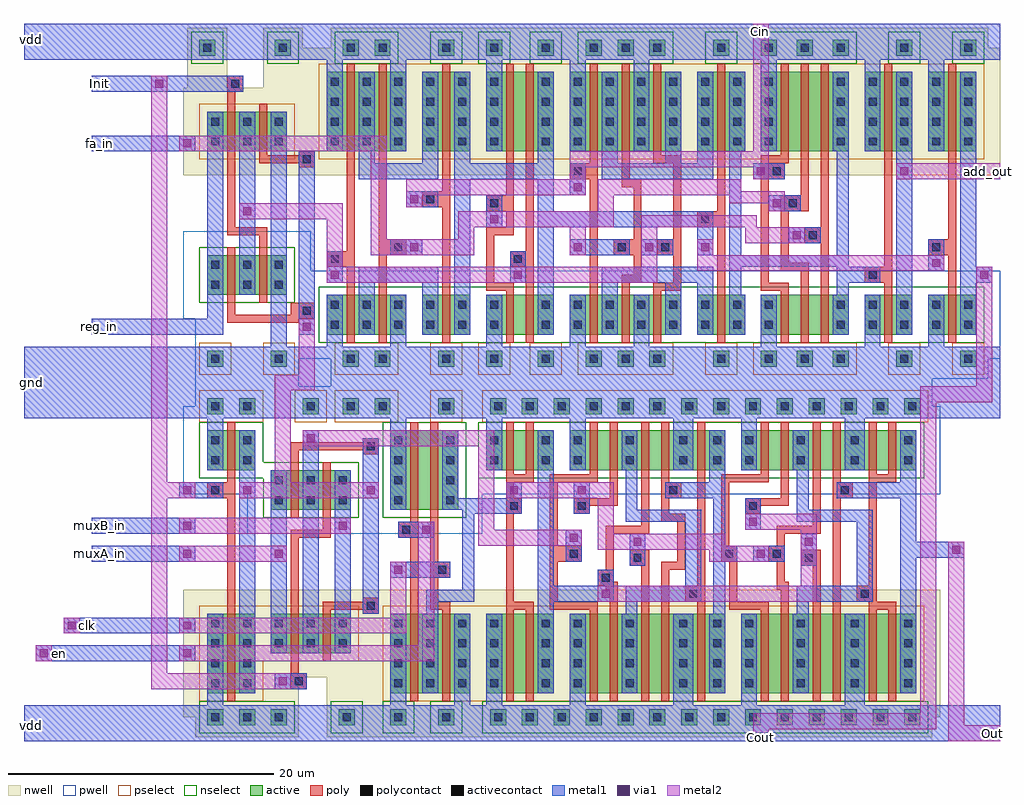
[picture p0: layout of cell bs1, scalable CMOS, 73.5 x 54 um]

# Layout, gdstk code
import gdstk
lib = gdstk.Library(unit=1e-6, precision=1e-09)
def R(c, l, rs):  # rectangles x0, y0, x1, y1
    for r in rs: c.add(gdstk.rectangle(r[:2], r[2:], *l))
def A(c, l, x, y, w, h, nx, ny, dx, dy):  # array of equal rectangles
    R(c, l, [(x+i*dx, y+j*dy, x+i*dx+w, y+j*dy+h) for i in range(nx) for j in range(ny)])
pwell = (41, 0)
nwell = (42, 0)
active = (43, 0)
pselect = (44, 0)
nselect = (45, 0)
poly = (46, 0)
polycontact = (47, 0)
activecontact = (48, 0)
metal1 = (49, 0)
via1 = (50, 0)
metal2 = (51, 0)

c_______fa_magic_fa = lib.new_cell('______fa_magic_fa')
R(c_______fa_magic_fa, pwell, [(2.1,-0.6,51.6,0.9), (0,0.9,52.5,7.5)])
R(c_______fa_magic_fa, nwell, [(0,14.7,52.5,24.3), (2.1,24.3,51.6,25.8)])
A(c_______fa_magic_fa, active, 21.3, 0.3, 1.2, 1.2, 3, 2, 2.4, 23.4)
A(c_______fa_magic_fa, active, 34.5, 0.3, 1.2, 1.2, 3, 2, 2.7, 23.4)
R(c_______fa_magic_fa, active, [(3,0.3,4.2,1.5), (5.4,0.3,6.6,1.5), (10.2,0.3,11.4,1.5), (13.8,0.3,15,1.5), (17.7,0.3,18.9,1.5), (30.9,0.3,32.1,1.5), (44.7,0.3,45.9,1.5), (49.5,0.3,50.7,1.5), (1.8,2.7,7.8,5.7), (9,2.7,12.6,5.7), (13.8,2.7,18.9,5.7), (20.1,2.7,28.5,5.7), (29.7,2.7,33.3,5.7), (34.5,2.7,41.1,5.7), (42.3,2.7,45.9,5.7), (47.1,2.7,50.7,5.7), (1.8,16.5,7.8,22.5), (9,16.5,12.6,22.5), (13.8,16.5,18.9,22.5), (20.1,16.5,28.5,22.5), (29.7,16.5,33.3,22.5), (34.5,16.5,41.1,22.5), (42.3,16.5,45.9,22.5), (47.1,16.5,50.7,22.5), (3,23.7,4.2,24.9), (5.4,23.7,6.6,24.9), (10.2,23.7,11.4,24.9), (13.8,23.7,15,24.9), (17.7,23.7,18.9,24.9), (30.9,23.7,32.1,24.9), (44.7,23.7,45.9,24.9), (49.5,23.7,50.7,24.9)])
R(c_______fa_magic_fa, pselect, [(2.4,-0.3,7.2,2.1), (9.6,-0.3,12,2.1), (13.2,-0.3,15.6,2.1), (17.1,-0.3,19.5,2.1), (20.7,-0.3,27.9,2.1), (30.3,-0.3,32.7,2.1), (33.9,-0.3,41.7,2.1), (44.1,-0.3,46.5,2.1), (48.9,-0.3,51.3,2.1), (1.2,15.9,51.3,23.1)])
R(c_______fa_magic_fa, nselect, [(1.2,2.1,51.3,6.3), (2.4,23.1,7.2,25.5), (9.6,23.1,12,25.5), (13.2,23.1,15.6,25.5), (17.1,23.1,19.5,25.5), (20.7,23.1,27.9,25.5), (30.3,23.1,32.7,25.5), (33.9,23.1,41.7,25.5), (44.1,23.1,46.5,25.5), (48.9,23.1,51.3,25.5)])
R(c_______fa_magic_fa, poly, [(3.3,2.1,3.9,7.8), (5.7,2.1,6.3,8.7), (10.5,2.1,11.1,12.3), (15.3,2.1,15.9,6), (16.8,2.1,17.4,7.8), (21.6,2.1,22.2,14.4), (24,2.1,24.6,6.6), (26.4,2.1,27,6), (31.2,2.1,31.8,10.8), (36,2.1,36.6,6), (37.5,2.1,38.1,7.5), (39,2.1,39.6,9.6), (43.8,2.1,44.4,6.6), (48.6,2.1,49.2,8.7), (13.8,6,15.9,6.6), (26.4,6,28.5,6.6), (34.5,6,36.6,6.6), (13.8,6.6,14.4,10.2), (24,6.6,25.5,7.2), (27.9,6.6,28.5,8.7), (34.5,6.6,35.1,14.4), (42.3,6.6,44.4,7.8), (24.9,7.2,25.5,8.7), (36,7.5,38.1,8.1), (1.8,7.8,3.9,9), (15.6,7.8,17.4,9), (43.8,7.8,44.4,23.1), (36,8.1,36.6,12), (5.7,8.7,7.8,9.9), (23.4,8.7,25.5,9.9), (26.7,8.7,28.5,9.9), (47.1,8.7,49.2,9.9), (3.3,9,3.9,23.1), (16.8,9,17.4,23.1), (37.8,9.6,39.6,10.8), (5.7,9.9,6.3,23.1), (24.9,9.9,25.5,13.8), (27.9,9.9,28.5,15.6), (48.6,9.9,49.2,23.1), (13.8,10.2,15.9,10.8), (15.3,10.8,15.9,12), (29.7,10.8,31.8,12), (39,10.8,39.6,23.1), (13.8,12,15.9,13.2), (31.2,12,31.8,23.1), (36,12,38.1,13.2), (9,12.3,11.1,13.5), (15.3,13.2,15.9,23.1), (37.5,13.2,38.1,23.1), (10.5,13.5,11.1,23.1), (24,13.8,25.5,14.4), (20.1,14.4,22.2,15.6), (24,14.4,24.6,23.1), (34.5,14.4,36.3,15.6), (21.6,15.6,22.2,23.1), (26.4,15.6,28.5,16.2), (34.5,15.6,36.6,16.2), (26.4,16.2,27,23.1), (36,16.2,36.6,23.1)])
R(c_______fa_magic_fa, polycontact, [(42.6,6.9,43.2,7.5), (2.1,8.1,2.7,8.7), (15.9,8.1,16.5,8.7), (6.9,9,7.5,9.6), (23.7,9,24.3,9.6), (27,9,27.6,9.6), (47.4,9,48,9.6), (38.1,9.9,38.7,10.5), (30,11.1,30.6,11.7), (14.1,12.3,14.7,12.9), (36.6,12.3,37.2,12.9), (9.3,12.6,9.9,13.2), (20.4,14.7,21,15.3), (35.4,14.7,36,15.3)])
A(c_______fa_magic_fa, activecontact, 21.6, 0.6, 0.6, 0.6, 3, 2, 2.4, 23.4)
A(c_______fa_magic_fa, activecontact, 34.8, 0.6, 0.6, 0.6, 3, 2, 2.7, 23.4)
A(c_______fa_magic_fa, activecontact, 2.1, 3.15, 0.6, 0.6, 6, 2, 2.4, 1.5)
A(c_______fa_magic_fa, activecontact, 18, 3.15, 0.6, 0.6, 8, 2, 2.4, 1.5)
A(c_______fa_magic_fa, activecontact, 40.2, 3.15, 0.6, 0.6, 5, 2, 2.4, 1.5)
A(c_______fa_magic_fa, activecontact, 2.1, 16.95, 0.6, 0.6, 6, 4, 2.4, 1.5)
A(c_______fa_magic_fa, activecontact, 18, 16.95, 0.6, 0.6, 8, 4, 2.4, 1.5)
A(c_______fa_magic_fa, activecontact, 40.2, 16.95, 0.6, 0.6, 5, 4, 2.4, 1.5)
R(c_______fa_magic_fa, activecontact, [(3.3,0.6,3.9,1.2), (5.7,0.6,6.3,1.2), (10.5,0.6,11.1,1.2), (14.1,0.6,14.7,1.2), (18,0.6,18.6,1.2), (31.2,0.6,31.8,1.2), (45,0.6,45.6,1.2), (49.8,0.6,50.4,1.2), (3.3,24,3.9,24.6), (5.7,24,6.3,24.6), (10.5,24,11.1,24.6), (14.1,24,14.7,24.6), (18,24,18.6,24.6), (31.2,24,31.8,24.6), (45,24,45.6,24.6), (49.8,24,50.4,24.6)])
A(c_______fa_magic_fa, metal1, 17.7, 15.6, 1.2, 6.9, 3, 1, 4.8, 0)
R(c_______fa_magic_fa, metal1, [(0,0,52.5,1.8), (1.8,1.8,3,5.7), (6.6,1.8,7.8,5.7), (13.8,1.8,15,5.7), (20.1,1.8,21.3,5.7), (24.9,1.8,26.1,5.7), (34.5,1.8,35.7,5.7), (42.3,1.8,43.5,5.7), (47.1,1.8,48.3,5.7), (4.2,2.7,5.4,6.6), (9,2.7,10.2,6.6), (11.4,2.7,12.6,14.4), (17.7,2.7,18.9,10.8), (22.5,2.7,23.7,6.6), (27.3,2.7,28.5,6.6), (29.7,2.7,30.9,6.6), (32.1,2.7,33.3,5.7), (39.9,2.7,41.1,5.7), (44.7,2.7,45.9,22.5), (49.5,2.7,50.7,6.6), (32.1,5.7,33,7.8), (40.2,5.7,41.1,6.6), (1.8,6.6,3,9), (4.2,6.6,10.2,7.8), (15.6,6.6,16.8,9), (22.5,6.6,30.9,7.8), (40.2,6.6,43.5,7.8), (49.5,6.6,51.9,7.8), (47.1,7.5,48.3,9.9), (32.1,7.8,41.1,8.7), (49.5,7.8,50.7,22.5), (6.6,8.7,9,9.9), (20.1,8.7,24.6,9.9), (25.5,8.7,27.9,9.9), (29.7,8.7,30.9,10.8), (32.1,8.7,33,16.5), (40.2,8.7,41.1,16.5), (36.6,9.6,39,10.8), (13.8,10.8,15,13.2), (17.7,10.8,30.9,12), (17.7,12,18.9,14.4), (35.1,12,37.5,13.2), (7.8,12.3,10.2,13.5), (20.1,13.2,21.3,15.6), (4.2,14.4,10.2,15.6), (11.4,14.4,18.9,15.6), (22.5,14.4,30.9,15.6), (33.9,14.4,36.3,15.6), (4.2,15.6,5.4,22.5), (9,15.6,10.2,22.5), (11.4,15.6,12.6,22.5), (29.7,15.6,30.9,22.5), (1.8,16.5,3,23.4), (6.6,16.5,7.8,23.4), (13.8,16.5,15,23.4), (20.1,16.5,21.3,23.4), (24.9,16.5,26.1,23.4), (32.1,16.5,33.3,22.5), (34.5,16.5,35.7,23.4), (39.9,16.5,41.1,22.5), (42.3,16.5,43.5,23.4), (47.1,16.5,48.3,23.4), (0,23.4,52.5,25.2)])
R(c_______fa_magic_fa, via1, [(2.1,6.9,2.7,7.5), (15.9,6.9,16.5,7.5), (51,6.9,51.6,7.5), (47.4,7.8,48,8.4), (8.1,9,8.7,9.6), (20.4,9,21,9.6), (25.8,9,26.4,9.6), (30,9,30.6,9.6), (36.9,9.9,37.5,10.5), (14.1,11.1,14.7,11.7), (35.4,12.3,36,12.9), (8.1,12.6,8.7,13.2), (20.4,13.5,21,14.1), (34.2,14.7,34.8,15.3), (45,14.7,45.6,15.3)])
R(c_______fa_magic_fa, metal2, [(50.7,-1.2,51.9,7.8), (1.8,6.6,26.7,7.8), (29.7,7.5,48.3,8.7), (25.5,7.8,26.7,10.8), (7.8,8.7,12.9,9.9), (20.1,8.7,21.3,10.8), (29.7,8.7,30.9,9.9), (33.3,9.6,37.8,10.8), (11.7,9.9,12.9,10.8), (11.7,10.8,23.4,12), (25.5,10.8,34.2,11.7), (22.2,12,23.4,13.2), (35.1,12,36.3,12.6), (7.8,12.3,9,13.2), (32.1,12.6,36.3,13.2), (7.8,13.2,21.3,14.4), (22.2,13.2,36.3,13.5), (22.2,13.5,33,14.4), (20.1,14.4,21.3,15.3), (33.9,14.4,35.1,15.3), (44.7,14.4,52.5,15.6), (20.1,15.3,35.1,16.5), (33.9,16.5,35.1,26.1)])
c_______fa_magic_fa.add(gdstk.Label('vdd', (0.9,24.3), layer=49, texttype=0))
c_______fa_magic_fa.add(gdstk.Label('gnd', (0.9,0.9), layer=49, texttype=0))
c_______fa_magic_fa.add(gdstk.Label('a', (3.6,11.7), layer=46, texttype=0))
c_______fa_magic_fa.add(gdstk.Label('b', (6,11.7), layer=46, texttype=0))
c_______fa_magic_fa.add(gdstk.Label('c_in', (33.6,15.9), layer=51, texttype=0))
c_______fa_magic_fa.add(gdstk.Label('sum', (47.7,15), layer=51, texttype=0))
c_______fa_magic_fa.add(gdstk.Label('c_out', (51.3,6), layer=51, texttype=0))

c_______mux21_magic_mux21 = lib.new_cell('______mux21_magic_mux21')
R(c_______mux21_magic_mux21, pwell, [(-7.8,-11.7,0,-7.2), (-8.7,-7.2,0.9,-0.6)])
R(c_______mux21_magic_mux21, nwell, [(-8.7,3.6,0.9,10.2), (-8.4,10.2,-5.4,14.7), (-2.7,10.2,0.3,14.7)])
R(c_______mux21_magic_mux21, active, [(-6.9,-10.8,-5.7,-9.6), (-2.1,-10.8,-0.9,-9.6), (-6.9,-5.4,-0.9,-2.4), (-6.9,5.4,-0.9,8.4), (-7.5,12.6,-6.3,13.8), (-1.8,12.6,-0.6,13.8)])
R(c_______mux21_magic_mux21, pselect, [(-7.5,-11.4,-5.1,-9), (-2.7,-11.4,-0.3,-9), (-7.5,4.8,-0.3,9)])
R(c_______mux21_magic_mux21, nselect, [(-7.5,-6,-0.3,-1.8), (-8.1,12,-5.7,14.4), (-2.4,12,0,14.4)])
R(c_______mux21_magic_mux21, poly, [(-5.4,-7.5,0,-7.2), (-5.4,-7.2,1.2,-6.9), (-5.4,-6.9,-4.8,-1.8), (-0.6,-6.9,1.2,-6), (-3,-6,-2.4,-0.9), (-5.4,-0.9,-2.4,-0.3), (-5.4,-0.3,-4.8,9.9), (0,4.2,1.2,4.5), (-3,4.5,1.2,5.1), (-3,5.1,-2.4,9), (0,5.1,1.2,5.4), (-5.4,9.9,-4.2,11.1)])
R(c_______mux21_magic_mux21, polycontact, [(0.3,-6.9,0.9,-6.3), (0.3,4.5,0.9,5.1), (-5.1,10.2,-4.5,10.8)])
A(c_______mux21_magic_mux21, activecontact, -6.6, -4.95, 0.6, 0.6, 3, 2, 2.4, 1.5)
A(c_______mux21_magic_mux21, activecontact, -6.6, 5.85, 0.6, 0.6, 3, 2, 2.4, 1.5)
R(c_______mux21_magic_mux21, activecontact, [(-6.6,-10.5,-6,-9.9), (-1.8,-10.5,-1.2,-9.9), (-7.2,12.9,-6.6,13.5), (-1.5,12.9,-0.9,13.5)])
R(c_______mux21_magic_mux21, metal1, [(-9,-11.1,1.2,-9.3), (-9,-8.4,-5.7,-7.2), (-6.9,-7.2,-5.7,8.4), (0,-7.2,1.2,5.4), (-4.5,-5.4,-3.3,8.4), (-2.1,-5.4,-0.9,8.4), (-6.6,9.9,-4.2,11.1), (-9,12.3,1.2,14.1)])
c_______mux21_magic_mux21.add(gdstk.Label('Vdd', (-0.9,12.9), layer=49, texttype=0))
c_______mux21_magic_mux21.add(gdstk.Label('In_0', (-8.4,-7.8), layer=49, texttype=0))
c_______mux21_magic_mux21.add(gdstk.Label('in_1', (-1.5,3.15), layer=49, texttype=0))
c_______mux21_magic_mux21.add(gdstk.Label('Out', (-3.9,2.7), layer=49, texttype=0))
c_______mux21_magic_mux21.add(gdstk.Label('Sel_bar', (0.6,4.8), layer=49, texttype=0))
c_______mux21_magic_mux21.add(gdstk.Label('sel', (-6,10.5), layer=49, texttype=0))

c_______inv_magic_inverter = lib.new_cell('______inv_magic_inverter')
R(c_______inv_magic_inverter, pwell, [(-0.3,-0.9,5.1,0.6), (-1.2,0.6,6,7.2)])
R(c_______inv_magic_inverter, nwell, [(-1.2,14.4,6,24), (-0.3,24,5.1,25.5)])
R(c_______inv_magic_inverter, active, [(0.6,0,1.8,1.2), (3,0,4.2,1.2), (0.6,2.4,4.2,5.4), (0.6,16.2,4.2,22.2), (0.6,23.4,1.8,24.6), (3,23.4,4.2,24.6)])
R(c_______inv_magic_inverter, pselect, [(0,-0.6,4.8,1.8), (0,15.6,4.8,22.8)])
R(c_______inv_magic_inverter, nselect, [(0,1.8,4.8,6), (0,22.8,4.8,25.2)])
R(c_______inv_magic_inverter, poly, [(2.1,1.8,2.7,6.3), (0.6,6.3,2.7,7.5), (2.1,7.5,2.7,22.8)])
R(c_______inv_magic_inverter, polycontact, [(0.9,6.6,1.5,7.2)])
A(c_______inv_magic_inverter, activecontact, 0.9, 16.65, 0.6, 0.6, 1, 4, 0, 1.5)
A(c_______inv_magic_inverter, activecontact, 3.3, 16.65, 0.6, 0.6, 1, 4, 0, 1.5)
R(c_______inv_magic_inverter, activecontact, [(0.9,0.3,1.5,0.9), (3.3,0.3,3.9,0.9), (0.9,2.85,1.5,3.45), (3.3,2.85,3.9,3.45), (0.9,4.35,1.5,4.95), (3.3,4.35,3.9,4.95), (0.9,23.7,1.5,24.3), (3.3,23.7,3.9,24.3)])
R(c_______inv_magic_inverter, metal1, [(-1.2,-0.3,6,1.5), (0.6,1.5,1.8,5.4), (3,2.4,4.2,22.2), (-1.2,6.3,1.8,7.5), (0.6,16.2,1.8,23.1), (-1.2,23.1,6,24.9)])
c_______inv_magic_inverter.add(gdstk.Label('Y', (3.6,7.8), layer=49, texttype=0))
c_______inv_magic_inverter.add(gdstk.Label('A', (-0.6,6.6), layer=49, texttype=0))
c_______inv_magic_inverter.add(gdstk.Label('vdd', (0,24), layer=49, texttype=0))
c_______inv_magic_inverter.add(gdstk.Label('gnd', (0,0.6), layer=49, texttype=0))

c_______bc1a_magic_bc1a = lib.new_cell('______bc1a_magic_bc1a')
R(c_______bc1a_magic_bc1a, pwell, [(7.5,11.1,17.1,17.7), (9.9,17.7,16.8,20.7), (9,20.7,16.8,22.2), (3.6,22.2,11.4,22.8)])
R(c_______bc1a_magic_bc1a, nwell, [(8.4,-4.2,11.4,0.3), (13.5,-4.2,16.5,0.3), (7.5,0.3,17.1,6.9)])
R(c_______bc1a_magic_bc1a, active, [(9.3,-3.3,10.5,-2.1), (14.4,-3.3,15.6,-2.1), (9.3,2.1,15.3,5.1), (9.3,12.9,15.3,15.9), (11.7,20.1,12.9,21.3), (14.7,20.1,15.9,21.3)])
R(c_______bc1a_magic_bc1a, pselect, [(8.7,1.5,15.9,5.7), (11.1,19.5,13.5,21.9), (14.1,19.5,16.5,21.9)])
R(c_______bc1a_magic_bc1a, nselect, [(8.7,-3.9,11.1,-1.5), (13.8,-3.9,16.2,-1.5), (8.7,12.3,15.9,16.5)])
R(c_______bc1a_magic_bc1a, poly, [(10.8,-0.6,12,0.6), (10.8,0.6,11.4,10.8), (13.2,1.5,13.8,5.4), (16.2,5.1,17.4,5.4), (13.2,5.4,17.4,6), (16.2,6,17.4,6.3), (10.8,10.8,13.8,11.4), (13.2,11.4,13.8,16.5), (10.8,12.3,11.4,17.4), (16.2,17.1,17.4,17.4), (10.8,17.4,17.4,18), (16.2,18,17.4,18.3)])
R(c_______bc1a_magic_bc1a, polycontact, [(11.1,-0.3,11.7,0.3), (16.5,5.4,17.1,6), (16.5,17.4,17.1,18)])
A(c_______bc1a_magic_bc1a, activecontact, 9.6, 2.55, 0.6, 0.6, 3, 2, 2.4, 1.5)
A(c_______bc1a_magic_bc1a, activecontact, 9.6, 13.35, 0.6, 0.6, 3, 2, 2.4, 1.5)
R(c_______bc1a_magic_bc1a, activecontact, [(9.6,-3,10.2,-2.4), (14.7,-3,15.3,-2.4), (12,20.4,12.6,21), (15,20.4,15.6,21)])
R(c_______bc1a_magic_bc1a, metal1, [(-0.3,-3.6,2.7,-1.8), (9,-3.6,19.2,-2.1), (9,-2.1,17.4,-1.8), (9.6,-0.6,12,0.6), (9.3,2.1,10.5,15.9), (11.7,2.1,12.9,18.9), (14.1,2.1,15.3,15.9), (16.2,5.1,17.4,18.3), (6.9,7.8,8.1,9), (-0.3,9,3.6,10.2), (-0.3,11.1,3.6,12.3), (2.4,13.8,3.6,15), (6.9,13.8,8.1,15), (-0.3,19.8,2.7,21.3), (9,19.8,17.4,21.3), (-0.3,21.3,17.4,21.6), (-0.3,21.6,19.2,23.4), (-0.3,23.4,9,23.7), (9.9,23.4,19.2,24), (-0.3,23.7,8.4,24.9), (12.6,24,18.3,25.2), (-0.3,24.9,9,25.2), (-0.3,26.1,3.6,27.3), (11.4,26.1,12.6,27.3), (11.4,27.9,12.6,29.1), (6.9,35.4,8.1,36.6), (-0.3,44.4,6,45.6), (-0.3,46.8,9,48.6), (13.8,46.8,18.3,48.6)])
R(c_______bc1a_magic_bc1a, via1, [(9.9,-0.3,10.5,0.3), (2.7,9.3,3.3,9.9), (9.6,9.3,10.2,9.9), (2.7,11.4,3.3,12), (14.4,11.4,15,12), (2.7,14.1,3.3,14.7), (7.2,14.1,7.8,14.7), (16.5,14.1,17.1,14.7), (12,18,12.6,18.6), (11.7,26.4,12.3,27), (0.6,44.7,1.2,45.3)])
R(c_______bc1a_magic_bc1a, metal2, [(0.3,-0.6,10.8,0.6), (0.3,0.6,1.5,13.8), (9,1.5,18.6,2.7), (9,3.6,18.6,4.8), (2.4,9,10.5,10.2), (2.4,11.1,15.3,12.3), (0.3,13.8,3.6,15), (6.9,13.8,17.4,15), (0.3,15,1.5,45.6), (9.6,15,10.8,21.9), (11.7,17.7,17.4,18.9), (9.6,21.9,12.6,23.1), (11.4,23.1,12.6,27.3)])
c_______bc1a_magic_bc1a.add(gdstk.Reference(c_______mux21_magic_mux21, (11.4,34.5)))
c_______bc1a_magic_bc1a.add(gdstk.Reference(c_______inv_magic_inverter, (3.9,21.3), x_reflection=True))
c_______bc1a_magic_bc1a.add(gdstk.Label('a_in', (4.2,9.6), layer=51, texttype=0))
c_______bc1a_magic_bc1a.add(gdstk.Label('b_in', (4.2,11.7), layer=51, texttype=0))
c_______bc1a_magic_bc1a.add(gdstk.Label('gnd', (2.4,22.5), layer=49, texttype=0))
c_______bc1a_magic_bc1a.add(gdstk.Label('reg_in', (2.1,26.7), layer=49, texttype=0))

c_______nand_magic_nand = lib.new_cell('______nand_magic_nand')
R(c_______nand_magic_nand, pwell, [(-1.5,-1.5,6.3,0), (-1.5,0,7.5,1.5), (-1.2,1.5,7.5,9.6)])
R(c_______nand_magic_nand, nwell, [(-1.2,13.8,8.4,23.4), (-0.3,23.4,6.3,24.9)])
R(c_______nand_magic_nand, active, [(-0.6,-0.6,0.6,0.6), (4.2,-0.6,5.4,0.6), (0.6,1.8,5.7,7.8), (0.6,15.6,6.6,21.6), (0.6,22.8,1.8,24), (4.2,22.8,5.4,24)])
R(c_______nand_magic_nand, pselect, [(-1.2,-1.2,1.2,1.2), (3.6,-1.2,6,1.2), (0,15,7.2,22.2)])
R(c_______nand_magic_nand, nselect, [(0,1.2,6.3,8.4), (0,22.2,2.4,24.6), (3.6,22.2,6,24.6)])
R(c_______nand_magic_nand, poly, [(2.1,1.2,2.7,8.7), (3.6,1.2,4.2,11.7), (1.2,8.7,2.7,9.9), (2.1,9.9,2.7,22.2), (3.6,11.7,5.1,12.9), (3.6,12.9,4.2,14.7), (3.6,14.7,5.1,15.3), (4.5,15.3,5.1,22.2)])
R(c_______nand_magic_nand, polycontact, [(1.5,9,2.1,9.6), (4.2,12,4.8,12.6)])
A(c_______nand_magic_nand, activecontact, 0.9, 2.25, 0.6, 0.6, 1, 4, 0, 1.5)
A(c_______nand_magic_nand, activecontact, 4.8, 2.25, 0.6, 0.6, 1, 4, 0, 1.5)
A(c_______nand_magic_nand, activecontact, 0.9, 16.05, 0.6, 0.6, 3, 4, 2.4, 1.5)
R(c_______nand_magic_nand, activecontact, [(-0.3,-0.3,0.3,0.3), (4.5,-0.3,5.1,0.3), (0.9,23.1,1.5,23.7), (4.5,23.1,5.1,23.7)])
R(c_______nand_magic_nand, metal1, [(-1.2,-0.9,8.4,0.9), (0.6,0.9,1.8,7.8), (4.5,1.8,5.7,6.9), (4.5,6.9,6.9,7.8), (6,7.8,6.9,13.8), (1.2,8.7,2.4,9.9), (0.6,11.7,5.1,12.9), (3.3,13.8,6.9,14.7), (3.3,14.7,4.2,15.6), (0.6,15.6,1.8,22.5), (3,15.6,4.2,21.6), (5.4,15.6,6.6,22.5), (-1.2,22.5,8.4,23.7), (-0.3,23.7,8.4,24.3)])
c_______nand_magic_nand.add(gdstk.Label('gnd', (3,0), layer=49, texttype=0))
c_______nand_magic_nand.add(gdstk.Label('vdd', (3,23.4), layer=49, texttype=0))
c_______nand_magic_nand.add(gdstk.Label('A', (2.4,8.4), layer=46, texttype=0))
c_______nand_magic_nand.add(gdstk.Label('B', (3.9,8.4), layer=46, texttype=0))

c_______dffpos_magic_dffpo = lib.new_cell('______dffpos_magic_dffpos')
R(c_______dffpos_magic_dffpo, pwell, [(6.6,17.7,42.6,24.3), (7.8,24.3,42,25.8)])
R(c_______dffpos_magic_dffpo, nwell, [(7.8,-0.6,42,0.9), (6.6,0.9,42.6,10.5)])
A(c_______dffpos_magic_dffpo, active, 8.7, 0.3, 1.2, 1.2, 14, 2, 2.4, 23.4)
R(c_______dffpos_magic_dffpo, active, [(8.4,2.7,13.5,8.7), (14.7,2.7,26.4,8.7), (27.6,2.7,40.8,8.7), (8.4,19.5,13.5,22.5), (14.7,19.5,26.4,22.5), (27.6,19.5,40.8,22.5)])
R(c_______dffpos_magic_dffpo, pselect, [(7.8,2.1,41.4,9.3), (8.1,23.1,41.7,25.5)])
R(c_______dffpos_magic_dffpo, nselect, [(8.1,-0.3,41.7,2.1), (7.8,18.9,41.4,23.1)])
R(c_______dffpos_magic_dffpo, poly, [(9.9,2.1,10.5,9), (11.4,2.1,12,9), (16.2,2.1,16.8,9), (17.7,2.1,18.3,10.5), (20.1,2.1,20.7,12.3), (21.6,2.1,22.2,12), (24.3,2.1,24.9,9.6), (29.1,2.1,29.7,9), (30.6,2.1,31.2,10.5), (33,2.1,33.6,12.3), (34.5,2.1,35.1,17.4), (37.2,2.1,37.8,9), (38.7,2.1,39.3,9), (9.9,9,12,9.6), (13.2,9,16.8,9.6), (26.7,9,29.7,9.6), (37.2,9,39.3,9.6), (9.9,9.6,10.5,16.2), (13.2,9.6,13.8,12.6), (23.4,9.6,24.9,10.8), (26.7,9.6,27.3,12.6), (36.3,9.6,37.8,10.8), (17.4,10.5,18.3,10.8), (30.3,10.5,31.2,11.1), (16.8,10.8,18.3,11.1), (24.3,10.8,24.9,23.1), (37.2,10.8,37.8,18.6), (16.8,11.1,18,12), (30.3,11.1,30.9,12.6), (17.4,12,18,14.7), (21.6,12,23.4,12.6), (19.2,12.3,20.7,13.5), (32.1,12.3,33.6,13.5), (13.2,12.6,15.6,13.8), (22.8,12.6,23.4,15.6), (26.1,12.6,27.3,13.8), (29.7,12.6,30.9,13.8), (13.2,13.8,13.8,18.6), (26.1,13.8,26.7,18.6), (30.3,13.8,30.9,14.7), (17.4,14.7,20.7,15.3), (30.3,14.7,33.6,15.3), (20.1,15.3,20.7,23.1), (33,15.3,33.6,23.1), (21.6,15.6,23.4,16.2), (9.9,16.2,11.1,17.4), (15,16.2,16.2,16.8), (21.6,16.2,22.2,17.4), (27.9,16.2,29.1,16.8), (15,16.8,18.3,17.4), (27.9,16.8,31.2,17.4), (9.9,17.4,10.5,18.6), (17.7,17.4,18.3,23.1), (21.6,17.4,23.1,18.6), (30.6,17.4,31.2,23.1), (34.5,17.4,36,18.6), (9.9,18.6,12,19.2), (13.2,18.6,16.8,19.2), (21.6,18.6,22.2,23.1), (26.1,18.6,29.7,19.2), (34.5,18.6,35.1,23.1), (37.2,18.6,39.3,19.2), (9.9,19.2,10.5,23.1), (11.4,19.2,12,23.1), (16.2,19.2,16.8,23.1), (29.1,19.2,29.7,23.1), (37.2,19.2,37.8,23.1), (38.7,19.2,39.3,23.1)])
R(c_______dffpos_magic_dffpo, polycontact, [(23.7,9.9,24.3,10.5), (36.6,9.9,37.2,10.5), (17.1,11.1,17.7,11.7), (19.5,12.6,20.1,13.2), (32.4,12.6,33,13.2), (14.7,12.9,15.3,13.5), (26.4,12.9,27,13.5), (30,12.9,30.6,13.5), (10.2,16.5,10.8,17.1), (15.3,16.5,15.9,17.1), (28.2,16.5,28.8,17.1), (22.2,17.7,22.8,18.3), (35.1,17.7,35.7,18.3)])
A(c_______dffpos_magic_dffpo, activecontact, 9, 0.6, 0.6, 0.6, 14, 2, 2.4, 23.4)
A(c_______dffpos_magic_dffpo, activecontact, 8.7, 3.15, 0.6, 0.6, 1, 4, 0, 1.5)
A(c_______dffpos_magic_dffpo, activecontact, 12.6, 3.15, 0.6, 0.6, 1, 4, 0, 1.5)
A(c_______dffpos_magic_dffpo, activecontact, 15, 3.15, 0.6, 0.6, 1, 4, 0, 1.5)
A(c_______dffpos_magic_dffpo, activecontact, 18.9, 3.15, 0.6, 0.6, 1, 4, 0, 1.5)
A(c_______dffpos_magic_dffpo, activecontact, 22.95, 3.15, 0.6, 0.6, 1, 4, 0, 1.5)
A(c_______dffpos_magic_dffpo, activecontact, 25.5, 3.15, 0.6, 0.6, 1, 4, 0, 1.5)
A(c_______dffpos_magic_dffpo, activecontact, 27.9, 3.15, 0.6, 0.6, 1, 4, 0, 1.5)
A(c_______dffpos_magic_dffpo, activecontact, 31.8, 3.15, 0.6, 0.6, 3, 4, 4.05, 1.5)
A(c_______dffpos_magic_dffpo, activecontact, 31.8, 19.95, 0.6, 0.6, 3, 2, 4.05, 1.5)
R(c_______dffpos_magic_dffpo, activecontact, [(8.7,19.95,9.3,20.55), (12.6,19.95,13.2,20.55), (15,19.95,15.6,20.55), (18.9,19.95,19.5,20.55), (22.95,19.95,23.55,20.55), (25.5,19.95,26.1,20.55), (27.9,19.95,28.5,20.55), (8.7,21.45,9.3,22.05), (12.6,21.45,13.2,22.05), (15,21.45,15.6,22.05), (18.9,21.45,19.5,22.05), (22.95,21.45,23.55,22.05), (25.5,21.45,26.1,22.05), (27.9,21.45,28.5,22.05)])
R(c_______dffpos_magic_dffpo, metal1, [(5.4,0,41.7,1.8), (8.4,1.8,9.6,8.7), (14.7,1.8,15.9,8.7), (22.5,1.8,24,8.7), (27.6,1.8,28.8,8.7), (35.4,1.8,36.9,8.7), (12.3,2.7,13.5,9.6), (18.6,2.7,19.8,8.7), (25.2,2.7,26.4,8.7), (31.5,2.7,32.7,8.7), (39.6,2.7,40.8,17.4), (18.9,8.7,19.8,9.6), (25.5,8.7,26.4,12.6), (31.8,8.7,32.7,9.6), (6.6,9.6,7.5,16.2), (12.3,9.6,18,10.8), (18.9,9.6,24.6,10.8), (31.8,9.6,37.5,10.8), (12.3,10.8,13.5,22.5), (16.8,10.8,18,12), (23.4,10.8,24.6,15.6), (36.3,10.8,37.5,15.6), (19.2,12.3,20.4,14.7), (32.1,12.3,33.3,14.7), (14.4,12.6,15.6,15), (25.5,12.6,27.3,13.8), (28.5,12.6,30.9,13.8), (25.5,13.8,26.4,17.4), (27.9,15,29.1,17.4), (18.9,15.6,24.6,16.5), (31.8,15.6,37.5,16.5), (6.6,16.2,11.1,17.4), (15,16.2,16.2,18.6), (18.9,16.5,19.8,19.5), (31.8,16.5,32.7,19.5), (9.9,17.4,11.1,18.6), (21.9,17.4,26.4,18.6), (34.8,17.4,40.8,18.6), (25.2,18.6,26.4,22.5), (39.6,18.6,40.8,22.5), (8.4,19.5,9.6,23.4), (14.7,19.5,15.9,23.4), (18.6,19.5,19.8,22.5), (22.5,19.5,24,23.4), (27.6,19.5,28.8,23.4), (31.5,19.5,32.7,22.5), (35.4,19.5,36.9,23.4), (5.4,23.4,41.7,25.2)])
R(c_______dffpos_magic_dffpo, via1, [(17.1,9.9,17.7,10.5), (28.8,12.9,29.4,13.5), (19.5,13.8,20.1,14.4), (32.4,13.8,33,14.4), (14.7,14.1,15.3,14.7), (28.2,15.3,28.8,15.9), (10.2,17.7,10.8,18.3), (15.3,17.7,15.9,18.3)])
R(c_______dffpos_magic_dffpo, metal2, [(16.8,9.6,33.3,10.8), (32.1,10.8,33.3,15), (25.2,12.6,29.7,13.5), (16.8,13.5,29.7,13.8), (7.8,13.8,15.6,15), (16.8,13.8,26.4,14.7), (16.8,14.7,18,17.4), (7.8,15,9,21.3), (27.9,15,33.3,16.2), (9.9,17.4,18,18.6), (6.6,21.3,9,22.5)])
c_______dffpos_magic_dffpo.add(gdstk.Label('D', (7.2,21.9), layer=51, texttype=0))
c_______dffpos_magic_dffpo.add(gdstk.Label('clk_b', (6.9,13.5), layer=49, texttype=0))
c_______dffpos_magic_dffpo.add(gdstk.Label('clk', (12.9,13.5), layer=49, texttype=0))
c_______dffpos_magic_dffpo.add(gdstk.Label('Q', (40.5,13.5), layer=49, texttype=0))

bs1 = lib.new_cell('bs1')
R(bs1, pwell, [(24,24.3,24.9,25.8), (13.8,25.8,59.1,26.4), (11.4,27.9,11.7,30.9)])
R(bs1, nwell, [(16.5,-0.6,17.4,0.9), (24,-0.6,24.9,0.9)])
R(bs1, metal1, [(-9.3,-0.9,64.2,0.3), (-9.3,0.3,26.1,1.8), (27.9,0.3,64.2,1.8), (-8.4,5.1,3.6,6.3), (-6.3,7.2,3.6,8.4), (18.3,11.4,19.5,12.6), (20.1,11.4,21.3,12.6), (-4.2,12.6,-0.3,13.8), (57.9,12.9,61.5,14.1), (19.8,14.4,21.6,15.6), (-4.2,14.7,-0.3,15.9), (25.8,16.2,26.1,17.4), (-9.3,23.4,-0.3,28.8), (19.2,23.4,26.1,24.9), (27.9,23.4,64.2,24.9), (19.2,24.9,64.2,28.8), (9.3,28.8,10.5,32.7), (-4.2,29.7,-0.3,30.9), (6.9,38.4,8.1,39.6), (-4.2,43.5,3.6,44.7), (-4.2,48,-0.3,49.2), (-9.3,50.4,-0.3,52.2), (19.2,50.4,20.7,52.2), (-9.3,52.2,64.2,53.1)])
R(bs1, via1, [(-8.1,5.4,-7.5,6), (2.7,5.4,3.3,6), (-6,7.5,-5.4,8.1), (2.7,7.5,3.3,8.1), (18.6,11.7,19.2,12.3), (60.6,13.2,61.2,13.8), (20.7,14.7,21.3,15.3), (7.2,38.7,7.8,39.3), (2.7,43.8,3.3,44.4)])
R(bs1, metal2, [(45.6,-0.9,46.8,0), (60.3,-0.9,64.2,0.3), (45.6,0,59.4,1.2), (60.3,0.3,61.5,14.1), (58.2,1.2,59.4,24.6), (-8.4,5.1,-7.2,6.3), (2.4,5.1,16.8,6.3), (18.6,5.1,21.6,6.3), (20.4,6.3,21.6,15.6), (-6.3,7.2,-5.1,8.4), (2.4,7.2,16.8,8.4), (18.3,7.2,19.5,12.6), (17.4,21.3,26.1,22.5), (58.2,24.6,63.6,25.8), (13.5,34.8,14.7,38.4), (16.8,35.7,20.7,36.9), (16.8,36.9,18,43.5), (6.9,38.4,14.7,39.6), (62.4,41.4,63.6,42.6), (2.4,43.5,18,44.7), (45.6,51.9,46.8,53.1)])
bs1.add(gdstk.Reference(c_______fa_magic_fa, (11.7,27)))
bs1.add(gdstk.Reference(c_______bc1a_magic_bc1a, (0,3.6)))
bs1.add(gdstk.Reference(c_______nand_magic_nand, (17.7,24.3), x_reflection=True))
bs1.add(gdstk.Reference(c_______dffpos_magic_dffpo, (17.1,0)))
bs1.add(gdstk.Label('add_out', (63.3,42), layer=51, texttype=0))
bs1.add(gdstk.Label('en', (-6.6,5.7), layer=49, texttype=0))
bs1.add(gdstk.Label('clk', (-4.5,7.8), layer=49, texttype=0))
bs1.add(gdstk.Label('vdd', (-8.7,0.3), layer=49, texttype=0))
bs1.add(gdstk.Label('vdd', (-8.7,51.9), layer=49, texttype=0))
bs1.add(gdstk.Label('gnd', (-8.7,26.1), layer=49, texttype=0))
bs1.add(gdstk.Label('Init', (-3.6,48.6), layer=49, texttype=0))
bs1.add(gdstk.Label('fa_in', (-3.6,44.1), layer=49, texttype=0))
bs1.add(gdstk.Label('reg_in', (-3.6,30.3), layer=49, texttype=0))
bs1.add(gdstk.Label('muxB_in', (-3.6,15.3), layer=49, texttype=0))
bs1.add(gdstk.Label('muxA_in', (-3.6,13.2), layer=49, texttype=0))
bs1.add(gdstk.Label('Cin', (46.2,52.5), layer=51, texttype=0))
bs1.add(gdstk.Label('Cout', (46.2,-0.6), layer=51, texttype=0))
bs1.add(gdstk.Label('Out', (63.6,-0.3), layer=51, texttype=0))

lib.write_gds('bs1.gds')
